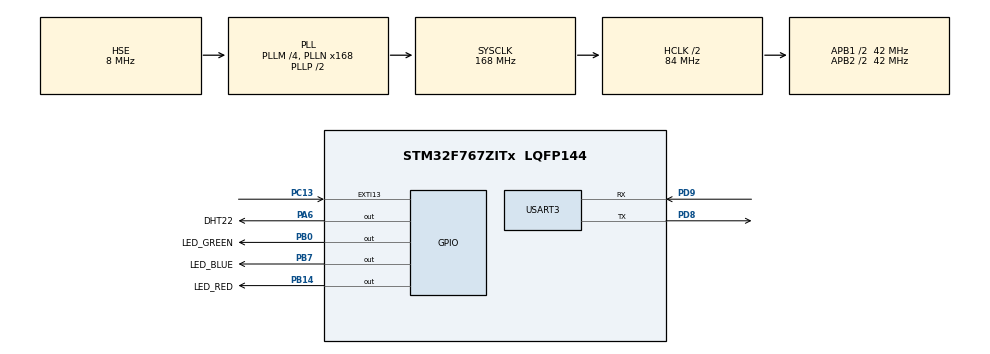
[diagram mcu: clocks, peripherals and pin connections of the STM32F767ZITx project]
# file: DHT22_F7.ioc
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Mcu.Family=STM32F7
RCC.CortexFreq_Value=84000000
PB14.GPIO_Label=LED_RED
RCC.SYSCLKSourceVirtual=RCC_SYSCLKSOURCE_PLLCLK
PB0.GPIO_Label=LED_GREEN
PA6.GPIO_Label=DHT22
PD9.Mode=Asynchronous
RCC.SYSCLKSource=RCC_SYSCLKSOURCE_PLLCLK
ProjectManager.StackSize=0x400
USART3.VirtualMode-Asynchronous=VM_ASYNC
PH0/OSC_IN.Mode=HSE-External-Oscillator
RCC.HCLKFreq_Value=84000000
RCC.APB2TimFreq_Value=84000000
PH1/OSC_OUT.Signal=RCC_OSC_OUT
PD8.Signal=USART3_TX
RCC.AHBFreq_Value=84000000
NVIC.EXTI15_10_IRQn=true\:0\:0\:false\:false\:true\:true\:true
RCC.HSE_VALUE=8000000
RCC.PLLMUL=RCC_PLL_MUL9
NVIC.TIM2_IRQn=true\:0\:0\:false\:false\:true\:true\:true
PB7.Signal=GPIO_Output
PH1/OSC_OUT.Mode=HSE-External-Oscillator
PB7.GPIO_Label=LED_BLUE
Mcu.Package=LQFP144
TIM2.Prescaler=1069
PA6.Signal=GPIO_Output
RCC.APB2CLKDivider=RCC_HCLK_DIV2
RCC.APB1TimFreq_Value=84000000
RCC.PLLSourceVirtual=RCC_PLLSOURCE_HSE
PC13.Signal=GPXTI13
PD9.Signal=USART3_RX
RCC.APB1CLKDivider=RCC_HCLK_DIV2
ProjectManager.TargetToolchain=TrueSTUDIO
RCC.USBFreq_Value=37333333.333333336
RCC.LSE_VALUE=32768
PD8.Mode=Asynchronous
PB14.Signal=GPIO_Output
board=NUCLEO-F767ZI
RCC.VCOOutputFreq_Value=336000000
PH0/OSC_IN.Signal=RCC_OSC_IN
RCC.APB2Freq_Value=42000000
RCC.PRESCALERUSB=RCC_USBCLKSOURCE_PLL_DIV1_5
VP_TIM2_VS_ClockSourceINT.Mode=Internal
RCC.AHBCLKDivider=RCC_SYSCLK_DIV2
TIM2.Period=10000
Mcu.Name=STM32F767ZITx
RCC.48MHZClocksFreq_Value=24000000
RCC.SYSCLKFreq_VALUE=168000000
ProjectManager.HeapSize=0x200
RCC.HSI_VALUE=16000000
RCC.PLLQ=9
NVIC.PriorityGroup=NVIC_PRIORITYGROUP_4
RCC.PLLM=4
RCC.PLLN=168
RCC.APB1Freq_Value=42000000
PB0.Signal=GPIO_Output

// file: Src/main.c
/* USER CODE BEGIN Header */
/**
  ******************************************************************************
  * @file           : main.c
  * @brief          : Main program body
  ******************************************************************************
  * @attention
  *
  * <h2><center>&copy; Copyright (c) 2021 STMicroelectronics.
  * All rights reserved.</center></h2>
  *
  * This software component is licensed by ST under BSD 3-Clause license,
  * the "License"; You may not use this file except in compliance with the
  * License. You may obtain a copy of the License at:
  *                        opensource.org/licenses/BSD-3-Clause
  *
  ******************************************************************************
  */
/* USER CODE END Header */

#include "main.h"

/* USER CODE BEGIN Includes */
#include "string.h"

/* USER CODE END Includes */

TIM_HandleTypeDef htim2;

UART_HandleTypeDef huart3;

void SystemClock_Config(void);
static void MX_GPIO_Init(void);
static void MX_USART3_UART_Init(void);
static void MX_TIM2_Init(void);
/* USER CODE BEGIN PFP */
uint16_t g[100];

void delay (uint16_t time)
{
	/* change your code here for the delay in microseconds */

	__HAL_TIM_SET_COUNTER(&htim2, 0);
	while ((__HAL_TIM_GET_COUNTER(&htim2))<time);
}

uint8_t Rh_byte1, Rh_byte2, Temp_byte1, Temp_byte2;
uint16_t SUM, RH, TEMP;

float Temperature = 0;
float Humidity = 0;
uint8_t Presence = 0;

void Set_Pin_Output (GPIO_TypeDef *GPIOx, uint16_t GPIO_Pin)
{
	GPIO_InitTypeDef GPIO_InitStruct = {0};
	GPIO_InitStruct.Pin = GPIO_Pin;
	GPIO_InitStruct.Mode = GPIO_MODE_OUTPUT_PP;
	GPIO_InitStruct.Speed = GPIO_SPEED_FREQ_HIGH;
	HAL_GPIO_Init(GPIOx, &GPIO_InitStruct);
}

void Set_Pin_Input (GPIO_TypeDef *GPIOx, uint16_t GPIO_Pin)
{
	GPIO_InitTypeDef GPIO_InitStruct = {0};
	GPIO_InitStruct.Pin = GPIO_Pin;
	GPIO_InitStruct.Mode = GPIO_MODE_INPUT;
	GPIO_InitStruct.Pull = GPIO_PULLUP;
	HAL_GPIO_Init(GPIOx, &GPIO_InitStruct);
}

void DHT11_Start (void)
{
	Set_Pin_Output(DHT22_GPIO_Port, DHT22_Pin);  // set the pin as output
	HAL_GPIO_WritePin (DHT22_GPIO_Port, DHT22_Pin, 0);   // pull the pin low
	delay (18000);   // wait for 18ms
    HAL_GPIO_WritePin (DHT22_GPIO_Port, DHT22_Pin, 1);   // pull the pin high
	delay (20);   // wait for 20us
	Set_Pin_Input(DHT22_GPIO_Port, DHT22_Pin);    // set as input
}

uint8_t DHT11_Check_Response (void)
{
	uint8_t Response = 0;
	delay (40);
	if (!(HAL_GPIO_ReadPin (DHT22_GPIO_Port, DHT22_Pin)))
	{
		delay (80);
		if ((HAL_GPIO_ReadPin (DHT22_GPIO_Port, DHT22_Pin))) Response = 1;
		else Response = -1; // 255
	}
	while ((HAL_GPIO_ReadPin (DHT22_GPIO_Port, DHT22_Pin)));   // wait for the pin to go low

	return Response;
}

uint8_t DHT11_Read (void)
{
	uint8_t i,j;
	for (j=0;j<8;j++)
	{
		while (!(HAL_GPIO_ReadPin (DHT22_GPIO_Port, DHT22_Pin)));   // wait for the pin to go high
		delay (40);   // wait for 40 us
		if (!(HAL_GPIO_ReadPin (DHT22_GPIO_Port, DHT22_Pin)))   // if the pin is low
		{
			i&= ~(1<<(7-j));   // write 0
		}
		else i|= (1<<(7-j));  // if the pin is high, write 1
		while ((HAL_GPIO_ReadPin (DHT22_GPIO_Port, DHT22_Pin)));  // wait for the pin to go low
	}
	return i;
}

/* USER CODE END PFP */

/* USER CODE BEGIN 0 */
#if (defined(__GNUC__) && !defined(__CC_ARM))
/* With GCC/RAISONANCE, small printf (option LD Linker->Libraries->Small printf
   set to 'Yes') calls __io_putchar() */
#define PUTCHAR_PROTOTYPE int __io_putchar(int ch)
#define GETCHAR_PROTOTYPE int __io_getchar(void)
#else
#define PUTCHAR_PROTOTYPE int fputc(int ch, FILE *f)
#define GETCHAR_PROTOTYPE int fgetc(FILE *f)
#endif /* __GNUC__ */

/**
  * @brief  Retargets the C library printf function to the USART.
  * @param  None
  * @retval None
  */
PUTCHAR_PROTOTYPE
{
  /* Place your implementation of fputc here */
  /* e.g. write a character to the USART2 and Loop until the end of transmission */
  while (HAL_OK != HAL_UART_Transmit(&huart3, (uint8_t *) &ch, 1, 30000))
  {
    ;
  }
  return ch;
}

/**
  * @brief  Retargets the C library scanf function to the USART.
  * @param  None
  * @retval None
  */
GETCHAR_PROTOTYPE
{
  /* Place your implementation of fgetc here */
  /* e.g. read a character on USART and loop until the end of read */
  uint8_t ch = 0;
  while (HAL_OK != HAL_UART_Receive(&huart3, (uint8_t *)&ch, 1, 30000))
  {
    ;
  }
  return ch;
}

/* USER CODE END 0 */

int main(void)
{

  /* MCU Configuration--------------------------------------------------------*/

  /* Reset of all peripherals, Initializes the Flash interface and the Systick. */
  HAL_Init();

  /* Configure the system clock */
  SystemClock_Config();

  /* Initialize all configured peripherals */
  MX_GPIO_Init();
  MX_USART3_UART_Init();
  MX_TIM2_Init();
  /* USER CODE BEGIN 2 */
  HAL_TIM_Base_Init(&htim2);
  HAL_TIM_Base_Start_IT(&htim2);
	char buffer[1999];

uint32_t i=0;
  /* USER CODE END 2 */

  /* Infinite loop */
  /* USER CODE BEGIN WHILE */
  while (1)
  {
	  HAL_GPIO_TogglePin(LED_BLUE_GPIO_Port,LED_BLUE_Pin);
	  i+=1;
	  sprintf(g,"\n\r hello Mohamed No: %d",i);
	  HAL_UART_Transmit(&huart3,g,strlen(g),1000);
	//  HAL_Delay(1000);
	  DHT11_Start();
	  Presence = DHT11_Check_Response();
	  Rh_byte1 = DHT11_Read ();
	  Rh_byte2 = DHT11_Read ();
	  Temp_byte1 = DHT11_Read ();
	  Temp_byte2 = DHT11_Read ();
	  SUM = DHT11_Read();
	  TEMP = Temp_byte1;
	  RH = Rh_byte1;
	  //Temperature = (float) TEMP;
	  // Humidity = (float) RH;
	  sprintf(buffer,"temp=%d.%d hum=%d.%d\n\r",Temp_byte1,Temp_byte2,Rh_byte1,Rh_byte2);
	  HAL_UART_Transmit(&huart3,buffer,strlen(buffer),1000);
	//  HAL_Delay(1000);

    /* USER CODE END WHILE */

  }
}

void SystemClock_Config(void)
{
  RCC_OscInitTypeDef RCC_OscInitStruct = {0};
  RCC_ClkInitTypeDef RCC_ClkInitStruct = {0};
  RCC_PeriphCLKInitTypeDef PeriphClkInitStruct = {0};

  /** Configure the main internal regulator output voltage
  */
  __HAL_RCC_PWR_CLK_ENABLE();
  __HAL_PWR_VOLTAGESCALING_CONFIG(PWR_REGULATOR_VOLTAGE_SCALE3);
  /** Initializes the CPU, AHB and APB busses clocks
  */
  RCC_OscInitStruct.OscillatorType = RCC_OSCILLATORTYPE_HSE;
  RCC_OscInitStruct.HSEState = RCC_HSE_ON;
  RCC_OscInitStruct.PLL.PLLState = RCC_PLL_ON;
  RCC_OscInitStruct.PLL.PLLSource = RCC_PLLSOURCE_HSE;
  RCC_OscInitStruct.PLL.PLLM = 4;
  RCC_OscInitStruct.PLL.PLLN = 168;
  RCC_OscInitStruct.PLL.PLLP = RCC_PLLP_DIV2;
  RCC_OscInitStruct.PLL.PLLQ = 9;
  if (HAL_RCC_OscConfig(&RCC_OscInitStruct) != HAL_OK)
  {
    Error_Handler();
  }
  /** Initializes the CPU, AHB and APB busses clocks
  */
  RCC_ClkInitStruct.ClockType = RCC_CLOCKTYPE_HCLK|RCC_CLOCKTYPE_SYSCLK
                              |RCC_CLOCKTYPE_PCLK1|RCC_CLOCKTYPE_PCLK2;
  RCC_ClkInitStruct.SYSCLKSource = RCC_SYSCLKSOURCE_PLLCLK;
  RCC_ClkInitStruct.AHBCLKDivider = RCC_SYSCLK_DIV2;
  RCC_ClkInitStruct.APB1CLKDivider = RCC_HCLK_DIV2;
  RCC_ClkInitStruct.APB2CLKDivider = RCC_HCLK_DIV2;

  if (HAL_RCC_ClockConfig(&RCC_ClkInitStruct, FLASH_LATENCY_2) != HAL_OK)
  {
    Error_Handler();
  }
  PeriphClkInitStruct.PeriphClockSelection = RCC_PERIPHCLK_USART3;
  PeriphClkInitStruct.Usart3ClockSelection = RCC_USART3CLKSOURCE_PCLK1;
  if (HAL_RCCEx_PeriphCLKConfig(&PeriphClkInitStruct) != HAL_OK)
  {
    Error_Handler();
  }
}

static void MX_TIM2_Init(void)
{

  TIM_ClockConfigTypeDef sClockSourceConfig = {0};
  TIM_MasterConfigTypeDef sMasterConfig = {0};

  htim2.Instance = TIM2;
  htim2.Init.Prescaler = 84-1;
  htim2.Init.CounterMode = TIM_COUNTERMODE_UP;
  htim2.Init.Period = 0xffff;
  htim2.Init.ClockDivision = TIM_CLOCKDIVISION_DIV1;
  htim2.Init.AutoReloadPreload = TIM_AUTORELOAD_PRELOAD_DISABLE;
  if (HAL_TIM_Base_Init(&htim2) != HAL_OK)
  {
    Error_Handler();
  }
  sClockSourceConfig.ClockSource = TIM_CLOCKSOURCE_INTERNAL;
  if (HAL_TIM_ConfigClockSource(&htim2, &sClockSourceConfig) != HAL_OK)
  {
    Error_Handler();
  }
  sMasterConfig.MasterOutputTrigger = TIM_TRGO_RESET;
  sMasterConfig.MasterSlaveMode = TIM_MASTERSLAVEMODE_DISABLE;
  if (HAL_TIMEx_MasterConfigSynchronization(&htim2, &sMasterConfig) != HAL_OK)
  {
    Error_Handler();
  }

}

static void MX_USART3_UART_Init(void)
{

  huart3.Instance = USART3;
  huart3.Init.BaudRate = 115200;
  huart3.Init.WordLength = UART_WORDLENGTH_8B;
  huart3.Init.StopBits = UART_STOPBITS_1;
  huart3.Init.Parity = UART_PARITY_NONE;
  huart3.Init.Mode = UART_MODE_TX_RX;
  huart3.Init.HwFlowCtl = UART_HWCONTROL_NONE;
  huart3.Init.OverSampling = UART_OVERSAMPLING_16;
  huart3.Init.OneBitSampling = UART_ONE_BIT_SAMPLE_DISABLE;
  huart3.AdvancedInit.AdvFeatureInit = UART_ADVFEATURE_NO_INIT;
  if (HAL_UART_Init(&huart3) != HAL_OK)
  {
    Error_Handler();
  }

}

static void MX_GPIO_Init(void)
{
  GPIO_InitTypeDef GPIO_InitStruct = {0};

  /* GPIO Ports Clock Enable */
  __HAL_RCC_GPIOC_CLK_ENABLE();
  __HAL_RCC_GPIOH_CLK_ENABLE();
  __HAL_RCC_GPIOA_CLK_ENABLE();
  __HAL_RCC_GPIOB_CLK_ENABLE();
  __HAL_RCC_GPIOD_CLK_ENABLE();

  /*Configure GPIO pin Output Level */
  HAL_GPIO_WritePin(DHT22_GPIO_Port, DHT22_Pin, GPIO_PIN_RESET);

  /*Configure GPIO pin Output Level */
  HAL_GPIO_WritePin(GPIOB, LED_GREEN_Pin|LED_RED_Pin|LED_BLUE_Pin, GPIO_PIN_RESET);

  /*Configure GPIO pin : PC13 */
  GPIO_InitStruct.Pin = GPIO_PIN_13;
  GPIO_InitStruct.Mode = GPIO_MODE_IT_RISING;
  GPIO_InitStruct.Pull = GPIO_NOPULL;
  HAL_GPIO_Init(GPIOC, &GPIO_InitStruct);

  /*Configure GPIO pin : DHT22_Pin */
  GPIO_InitStruct.Pin = DHT22_Pin;
  GPIO_InitStruct.Mode = GPIO_MODE_OUTPUT_PP;
  GPIO_InitStruct.Pull = GPIO_NOPULL;
  GPIO_InitStruct.Speed = GPIO_SPEED_FREQ_HIGH;
  HAL_GPIO_Init(DHT22_GPIO_Port, &GPIO_InitStruct);

  /*Configure GPIO pins : LED_GREEN_Pin LED_RED_Pin LED_BLUE_Pin */
  GPIO_InitStruct.Pin = LED_GREEN_Pin|LED_RED_Pin|LED_BLUE_Pin;
  GPIO_InitStruct.Mode = GPIO_MODE_OUTPUT_PP;
  GPIO_InitStruct.Pull = GPIO_NOPULL;
  GPIO_InitStruct.Speed = GPIO_SPEED_FREQ_LOW;
  HAL_GPIO_Init(GPIOB, &GPIO_InitStruct);

  /* EXTI interrupt init*/
  HAL_NVIC_SetPriority(EXTI15_10_IRQn, 0, 0);
  HAL_NVIC_EnableIRQ(EXTI15_10_IRQn);

}

/* USER CODE BEGIN 4 */
void HAL_GPIO_EXTI_Callback(uint16_t GPIO_Pin)
{
  if (GPIO_Pin == GPIO_PIN_13)
  {
	  sprintf(g,"\n\r interrupt trigger ");
	  HAL_UART_Transmit(&huart3,g,strlen(g),1000);
  }
}
/*
void HAL_TIM_PeriodElapsedCallback(TIM_HandleTypeDef *htim)
{
	  HAL_GPIO_TogglePin(LED_RED_GPIO_Port,LED_RED_Pin);
} */
/* USER CODE END 4 */

void Error_Handler(void)
{
}

/************************ (C) COPYRIGHT STMicroelectronics *****END OF FILE****/
